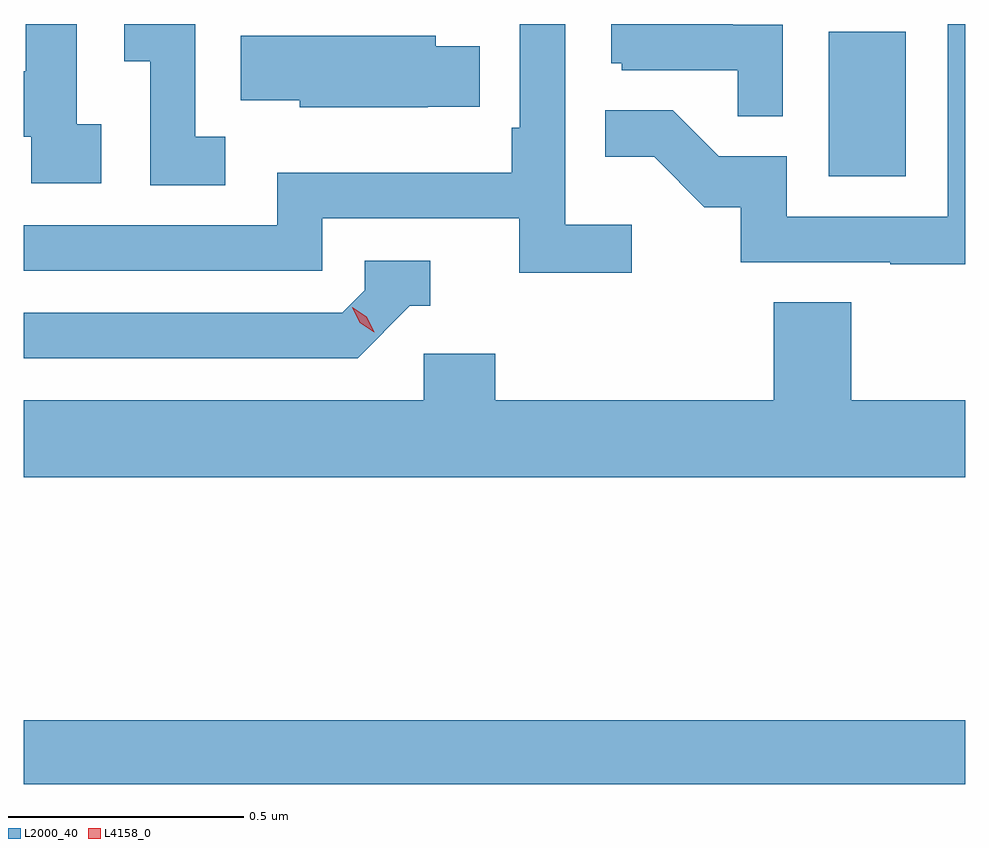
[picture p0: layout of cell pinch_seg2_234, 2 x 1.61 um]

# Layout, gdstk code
import gdstk
lib = gdstk.Library(unit=1e-6, precision=1e-09)
def R(c, l, rs):  # rectangles x0, y0, x1, y1
    for r in rs: c.add(gdstk.rectangle(r[:2], r[2:], *l))
def P(c, l, *ps):  # polygons
    for p in ps: c.add(gdstk.Polygon(p, *l))
L2000_40 = (2000, 40)
L4158_0 = (4158, 0)

pinch_seg2_234 = lib.new_cell('pinch_seg2_234')
R(pinch_seg2_234, L2000_40, [(986.384,649.648,988.384,649.784), (988.094,650.94,988.258,651.247)])
P(pinch_seg2_234, L2000_40, [(987.676,650.836),(987.534,650.836),(987.534,651.263),(987.438,651.263),(987.438,651.043),(987.421,651.043),(987.421,650.947),(986.922,650.947),(986.922,650.835),(986.384,650.835),(986.384,650.739),(987.018,650.739),(987.018,650.85),(987.437,650.85),(987.437,650.734),(987.676,650.734)],
  [(986.812,651.023),(986.748,651.023),(986.748,651.263),(986.597,651.263),(986.597,651.184),(986.652,651.184),(986.652,650.92),(986.812,650.92)],
  [(986.548,651.05),(986.496,651.05),(986.496,651.263),(986.388,651.263),(986.388,651.163),(986.384,651.163),(986.384,651.023),(986.4,651.023),(986.4,650.925),(986.548,650.925)],
  [(988.384,651.263),(988.347,651.263),(988.347,650.853),(988.005,650.853),(988.005,650.982),(987.861,650.982),(987.763,651.08),(987.619,651.08),(987.619,650.981),(987.723,650.981),(987.83,650.874),(987.907,650.874),(987.907,650.757),(988.225,650.757),(988.225,650.752),(988.384,650.752)],
  [(987.996,651.261),(987.89,651.261),(987.89,651.263),(987.632,651.263),(987.632,651.18),(987.654,651.18),(987.654,651.165),(987.901,651.165),(987.901,651.067),(987.996,651.067)],
  [(987.242,651.087),(987.353,651.087),(987.353,651.216),(987.259,651.216),(987.259,651.238),(986.845,651.238),(986.845,651.101),(986.97,651.101),(986.97,651.086),(987.242,651.086)],
  [(987.204,650.664),(987.247,650.664),(987.247,650.76),(987.108,650.76),(987.108,650.697),(987.06,650.649),(986.384,650.649),(986.384,650.553),(987.093,650.553)],
  [(988.384,650.464),(988.142,650.464),(988.142,650.672),(987.977,650.672),(987.977,650.464),(987.386,650.464),(987.386,650.562),(987.234,650.562),(987.234,650.464),(986.384,650.464),(986.384,650.3),(988.384,650.3)])
P(pinch_seg2_234, L4158_0, [(987.128,650.608),(987.098,650.628),(987.082,650.661),(987.082,650.661),(987.082,650.661),(987.112,650.641),(987.128,650.609),(987.128,650.608)])

lib.write_gds('pinch_seg2_234.gds')
